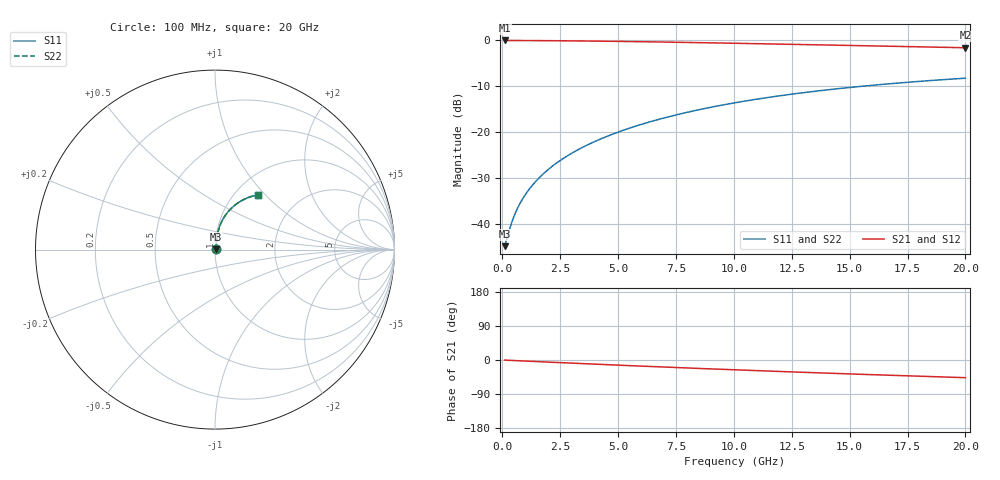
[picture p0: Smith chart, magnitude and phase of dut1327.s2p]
! Touchstone file exported from HFSS 2024.1.0
!  File:  C:/UserFiles/LocalFiles/RDL_TSV_Batchsim/temp_RDL_bottom_1327_1780369264.aedt
!  Generated:  11:03:45 AM Jun  2, 2026
!  Design:  RDL_bottom
!  Project:  temp_RDL_bottom_1327_1780369264
!  Setup:  Setup1
!  Solution:  Sweep
! Variables:
!  dtsv = 10.80580581um
!  hbump = 3um
!  htsv = 90.45um
!  ldown = 675.11um
!  lrdl = 100um
!  p = 40
!  p1 = 45.62um
!  rhole = 1um
!  t = 450um
!  tdown = 2.12um
!  trdl = 3.915915916um
!  wdown = 22.22um
!  wrdl = 20um
# GHz S MA R 50.000000
! Terminal data exported
! Port[1] = RDL1_T1
! Port[2] = RDL1_T2
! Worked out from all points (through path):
!   200 points, 100 MHz to 20 GHz, reference 50 ohm
!   highest |S21| = -0.05 dB at 100 MHz (marker M1); lowest = -1.6 dB at 20 GHz (marker M2)
!   group delay of S21, straight-line fit = 6.45 ps
!   lowest |S11| = -44.7 dB at 100 MHz (marker M3), VSWR 1.01, Z = 50.5 + j0.224 ohm
!   |S11| at or under -10 dB: start of sweep to 15.52 GHz
!   |S22| runs from -44.7 to -8.2 dB; largest |S21 - S12| = 1.7e-14
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0.1  0.005804 22.4  0.9946 -0.3  0.9946 -0.3  0.005804 22.4
! Gamma 0 0 0 0
! Port Impedance 50 0 50 0
0.4  0.01038 55.2  0.994 -1.2  0.994 -1.2  0.01038 55.2
0.5  0.01217 59.6  0.9937 -1.5  0.9937 -1.5  0.01217 59.6
0.6  0.01396 62.9  0.9934 -1.7  0.9934 -1.7  0.01396 62.9
0.7  0.01576 65.4  0.9931 -2.0  0.9931 -2.0  0.01576 65.4
0.9  0.01936 69.2  0.9926 -2.6  0.9926 -2.6  0.01936 69.2
1.2  0.02481 72.9  0.9918 -3.4  0.9918 -3.4  0.02481 72.9
1.4  0.02849 74.7  0.9912 -3.9  0.9912 -3.9  0.02849 74.7
1.7  0.0341 76.6  0.9902 -4.8  0.9902 -4.8  0.0341 76.6
2.2  0.04362 78.7  0.9884 -6.1  0.9884 -6.1  0.04363 78.7
2.8  0.05534 80.0  0.9857 -7.8  0.9857 -7.8  0.05534 80.0
3.5  0.06936 80.6  0.9819 -9.6  0.9819 -9.6  0.06936 80.6
4.2  0.08372 80.7  0.9776 -11.5  0.9776 -11.5  0.08372 80.7
5  0.1005 80.3  0.972 -13.6  0.972 -13.6  0.1005 80.3
5.9  0.1197 79.4  0.965 -15.9  0.965 -15.9  0.1197 79.4
6.8  0.1392 78.2  0.9574 -18.2  0.9574 -18.2  0.1392 78.2
8.4  0.174 75.5  0.943 -22.1  0.943 -22.1  0.174 75.5
10.1  0.2105 72.1  0.9267 -26.0  0.9267 -26.0  0.2105 72.1
11.7  0.2437 68.8  0.9109 -29.7  0.9109 -29.7  0.2436 68.8
13.4  0.2772 65.2  0.8939 -33.4  0.8939 -33.4  0.2772 65.2
16.7  0.3365 58.4  0.8609 -40.2  0.8609 -40.2  0.3364 58.4
20  0.3873 51.9  0.8289 -46.6  0.8289 -46.6  0.3872 51.9
